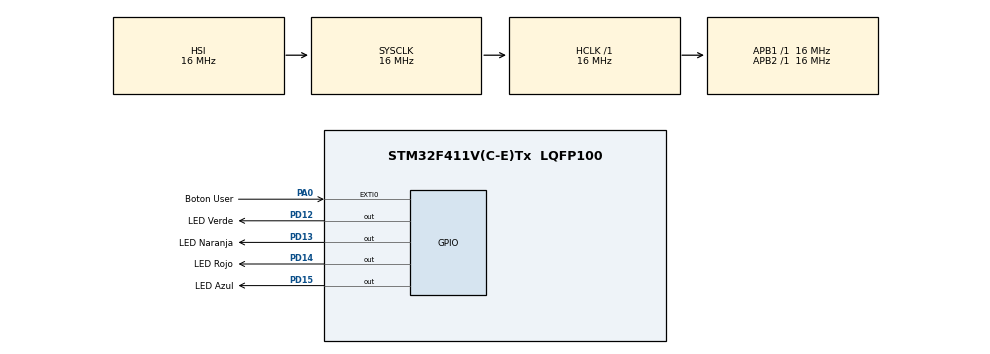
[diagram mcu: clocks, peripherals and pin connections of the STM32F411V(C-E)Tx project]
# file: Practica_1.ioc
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Mcu.Family=STM32F4
Mcu.Name=STM32F411V(C-E)Tx
Mcu.Package=LQFP100
NVIC.EXTI0_IRQn=true\:0\:0\:false\:false\:true\:true
NVIC.PriorityGroup=NVIC_PRIORITYGROUP_4
PA0-WKUP.GPIO_Label=Boton User
PA0-WKUP.Signal=GPXTI0
PD12.GPIO_Label=LED Verde
PD12.Signal=GPIO_Output
PD13.GPIO_Label=LED Naranja
PD13.Signal=GPIO_Output
PD14.GPIO_Label=LED Rojo
PD14.Signal=GPIO_Output
PD15.GPIO_Label=LED Azul
PD15.Signal=GPIO_Output
ProjectManager.HeapSize=0x200
ProjectManager.StackSize=0x400
ProjectManager.TargetToolchain=MDK-ARM V5
RCC.AHBFreq_Value=16000000
RCC.APB1Freq_Value=16000000
RCC.APB2Freq_Value=16000000
RCC.CortexFreq_Value=16000000
RCC.HSE_VALUE=25000000
RCC.HSI_VALUE=16000000
RCC.LSE_VALUE=32768
RCC.SYSCLKFreq_VALUE=16000000
RCC.VCOOutputFreq_Value=192000000
board=custom

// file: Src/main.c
/**
  ******************************************************************************
  * @file           : main.c
  * @brief          : Main program body
  ******************************************************************************
  ** This notice applies to any and all portions of this file
  * that are not between comment pairs USER CODE BEGIN and
  * USER CODE END. Other portions of this file, whether
  * inserted by the user or by software development tools
  * are owned by their respective copyright owners.
  *
  * COPYRIGHT(c) 2018 STMicroelectronics
  *
  * Redistribution and use in source and binary forms, with or without modification,
  * are permitted provided that the following conditions are met:
  *   1. Redistributions of source code must retain the above copyright notice,
  *      this list of conditions and the following disclaimer.
  *   2. Redistributions in binary form must reproduce the above copyright notice,
  *      this list of conditions and the following disclaimer in the documentation
  *      and/or other materials provided with the distribution.
  *   3. Neither the name of STMicroelectronics nor the names of its contributors
  *      may be used to endorse or promote products derived from this software
  *      without specific prior written permission.
  *
  * THIS SOFTWARE IS PROVIDED BY THE COPYRIGHT HOLDERS AND CONTRIBUTORS "AS IS"
  * AND ANY EXPRESS OR IMPLIED WARRANTIES, INCLUDING, BUT NOT LIMITED TO, THE
  * IMPLIED WARRANTIES OF MERCHANTABILITY AND FITNESS FOR A PARTICULAR PURPOSE ARE
  * DISCLAIMED. IN NO EVENT SHALL THE COPYRIGHT HOLDER OR CONTRIBUTORS BE LIABLE
  * FOR ANY DIRECT, INDIRECT, INCIDENTAL, SPECIAL, EXEMPLARY, OR CONSEQUENTIAL
  * DAMAGES (INCLUDING, BUT NOT LIMITED TO, PROCUREMENT OF SUBSTITUTE GOODS OR
  * SERVICES; LOSS OF USE, DATA, OR PROFITS; OR BUSINESS INTERRUPTION) HOWEVER
  * CAUSED AND ON ANY THEORY OF LIABILITY, WHETHER IN CONTRACT, STRICT LIABILITY,
  * OR TORT (INCLUDING NEGLIGENCE OR OTHERWISE) ARISING IN ANY WAY OUT OF THE USE
  * OF THIS SOFTWARE, EVEN IF ADVISED OF THE POSSIBILITY OF SUCH DAMAGE.
  *
  ******************************************************************************
  */
#include "main.h"
#include "stm32f4xx_hal.h"
#include <stdlib.h>

/* USER CODE BEGIN PV */
/* Private variables ---------------------------------------------------------*/

/* USER CODE END PV */

void SystemClock_Config(void);
static void MX_GPIO_Init(void);

/* USER CODE BEGIN PFP */
/* Private function prototypes -----------------------------------------------*/

/* USER CODE END PFP */

/* USER CODE BEGIN 0 */

//la variable ha de ser volatile para que se pueda actualizar desde cualquier punto
volatile int flag = 0;//flag que indica que ha saltado la interrupci�n
volatile unsigned long cont;
volatile unsigned long t_reaccion;
volatile unsigned long tiempo;

void HAL_GPIO_EXTI_Callback(uint16_t GPIO_Pin)
{
		if(GPIO_Pin == GPIO_PIN_0)//si la interrupci�n salta con el PA0 activa el flag
		{
			flag = 1;
		}
}
/* USER CODE END 0 */

int main(void)
{

  /* MCU Configuration----------------------------------------------------------*/

  /* Reset of all peripherals, Initializes the Flash interface and the Systick. */
  HAL_Init();

  /* Configure the system clock */
  SystemClock_Config();

  /* Initialize all configured peripherals */
  MX_GPIO_Init();
  /* USER CODE BEGIN 2 */
	int i = 0;
	cont = 0; //variable que lleva la cuenta de los ciclos que han pasado
	srand(i++);
	tiempo = ((rand()%3)+2)*1000000; //el tiempo est� traducido a ciclos de reloj, not quite
  /* USER CODE END 2 */

  /* Infinite loop */
  /* USER CODE BEGIN WHILE */

  while (1)
  {
		if(cont == 0)//en caso de que el contador se reinicie se apagan las luces
		{
				HAL_GPIO_WritePin(GPIOD, GPIO_PIN_15, GPIO_PIN_RESET);
				HAL_GPIO_WritePin(GPIOD, GPIO_PIN_14, GPIO_PIN_RESET);
				HAL_GPIO_WritePin(GPIOD, GPIO_PIN_13, GPIO_PIN_RESET);
				HAL_GPIO_WritePin(GPIOD, GPIO_PIN_12, GPIO_PIN_RESET);
		}
		cont++;//con cada ciclo de reloj suma uno al contador para poder llevar una pseudo-cuenta del timepo transcurrido

		if (flag == 1) //si el flag está a uno, que quiere indicar que ha saltado la interrupción
		{
				if (cont < tiempo)// si cuando se pulsa el botón no ha pasado el tiempo (se ha pulsado )
				{
						//parpadea la luz para indicar que se ha fallado
						HAL_GPIO_TogglePin(GPIOD, GPIO_PIN_15);
						HAL_Delay(100);
						HAL_GPIO_TogglePin(GPIOD, GPIO_PIN_15);
						HAL_Delay(100);
						HAL_GPIO_TogglePin(GPIOD, GPIO_PIN_15);
						HAL_Delay(100);
						HAL_GPIO_TogglePin(GPIOD, GPIO_PIN_15);
						cont = 0;//reinicia el contador para volver a jugar
						t_reaccion = 0;
						srand(i++);
						tiempo = ((rand()%3)+2)*1000000;//carga un nuevo tiempo para la siguiente
						HAL_Delay(5000);
				}

				if (cont >= tiempo) //en caso de que se pulse despu�s de que se encienda el LED
				{
						//si se ha pulsado el pulsador más tarde del momento en el que se ha
						//encendido la luza apaga la luz y enciende otra para mostrar que se ha pulsado correctamente
						HAL_GPIO_WritePin(GPIOD, GPIO_PIN_15, GPIO_PIN_RESET);
						HAL_GPIO_WritePin(GPIOD, GPIO_PIN_14, GPIO_PIN_SET);
						cont = 0;//reinicia el contador para volver a jugar
						t_reaccion = 0;
						srand(i++);
						tiempo = ((rand()%3)+2)*1000000;//carga un nuevo tiempo para la siguiente
						HAL_Delay(5000);
				}
				flag = 0;
		}
		if(cont >= tiempo)//en caso de que el contador llegue al tiempo establecido
		{
				//aqu� no s puede resetear cont = 0; se tendrña que haver sólo si se ha
				// pulsado el botón ya que sólo en ese caso hay que restear el juego
				HAL_GPIO_WritePin(GPIOD, GPIO_PIN_15, GPIO_PIN_SET);
				t_reaccion++;//en cuanto se enciende la luz empieza a contar el número de ciclos que tarda en pulsar el botón
		}
		 /* USER CODE END WHILE */
  }

}

void SystemClock_Config(void)
{

  RCC_OscInitTypeDef RCC_OscInitStruct;
  RCC_ClkInitTypeDef RCC_ClkInitStruct;

    /**Configure the main internal regulator output voltage
    */
  __HAL_RCC_PWR_CLK_ENABLE();

  __HAL_PWR_VOLTAGESCALING_CONFIG(PWR_REGULATOR_VOLTAGE_SCALE1);

    /**Initializes the CPU, AHB and APB busses clocks
    */
  RCC_OscInitStruct.OscillatorType = RCC_OSCILLATORTYPE_HSI;
  RCC_OscInitStruct.HSIState = RCC_HSI_ON;
  RCC_OscInitStruct.HSICalibrationValue = 16;
  RCC_OscInitStruct.PLL.PLLState = RCC_PLL_NONE;
  if (HAL_RCC_OscConfig(&RCC_OscInitStruct) != HAL_OK)
  {
    _Error_Handler(__FILE__, __LINE__);
  }

    /**Initializes the CPU, AHB and APB busses clocks
    */
  RCC_ClkInitStruct.ClockType = RCC_CLOCKTYPE_HCLK|RCC_CLOCKTYPE_SYSCLK
                              |RCC_CLOCKTYPE_PCLK1|RCC_CLOCKTYPE_PCLK2;
  RCC_ClkInitStruct.SYSCLKSource = RCC_SYSCLKSOURCE_HSI;
  RCC_ClkInitStruct.AHBCLKDivider = RCC_SYSCLK_DIV1;
  RCC_ClkInitStruct.APB1CLKDivider = RCC_HCLK_DIV1;
  RCC_ClkInitStruct.APB2CLKDivider = RCC_HCLK_DIV1;

  if (HAL_RCC_ClockConfig(&RCC_ClkInitStruct, FLASH_LATENCY_0) != HAL_OK)
  {
    _Error_Handler(__FILE__, __LINE__);
  }

    /**Configure the Systick interrupt time
    */
  HAL_SYSTICK_Config(HAL_RCC_GetHCLKFreq()/1000);

    /**Configure the Systick
    */
  HAL_SYSTICK_CLKSourceConfig(SYSTICK_CLKSOURCE_HCLK);

  /* SysTick_IRQn interrupt configuration */
  HAL_NVIC_SetPriority(SysTick_IRQn, 0, 0);
}

/** Configure pins as
        * Analog
        * Input
        * Output
        * EVENT_OUT
        * EXTI
*/
static void MX_GPIO_Init(void)
{

  GPIO_InitTypeDef GPIO_InitStruct;

  /* GPIO Ports Clock Enable */
  __HAL_RCC_GPIOA_CLK_ENABLE();
  __HAL_RCC_GPIOD_CLK_ENABLE();

  /*Configure GPIO pin Output Level */
  HAL_GPIO_WritePin(GPIOD, LED_Verde_Pin|LED_Naranja_Pin|LED_Rojo_Pin|LED_Azul_Pin, GPIO_PIN_RESET);

  /*Configure GPIO pin : Boton_User_Pin */
  GPIO_InitStruct.Pin = Boton_User_Pin;
  GPIO_InitStruct.Mode = GPIO_MODE_IT_RISING;
  GPIO_InitStruct.Pull = GPIO_NOPULL;
  HAL_GPIO_Init(Boton_User_GPIO_Port, &GPIO_InitStruct);

  /*Configure GPIO pins : LED_Verde_Pin LED_Naranja_Pin LED_Rojo_Pin LED_Azul_Pin */
  GPIO_InitStruct.Pin = LED_Verde_Pin|LED_Naranja_Pin|LED_Rojo_Pin|LED_Azul_Pin;
  GPIO_InitStruct.Mode = GPIO_MODE_OUTPUT_PP;
  GPIO_InitStruct.Pull = GPIO_NOPULL;
  GPIO_InitStruct.Speed = GPIO_SPEED_FREQ_LOW;
  HAL_GPIO_Init(GPIOD, &GPIO_InitStruct);

  /* EXTI interrupt init*/
  HAL_NVIC_SetPriority(EXTI0_IRQn, 0, 0);
  HAL_NVIC_EnableIRQ(EXTI0_IRQn);

}

void _Error_Handler(char *file, int line)
{
  while(1)
  {
  }
}

/************************ (C) COPYRIGHT STMicroelectronics *****END OF FILE****/
